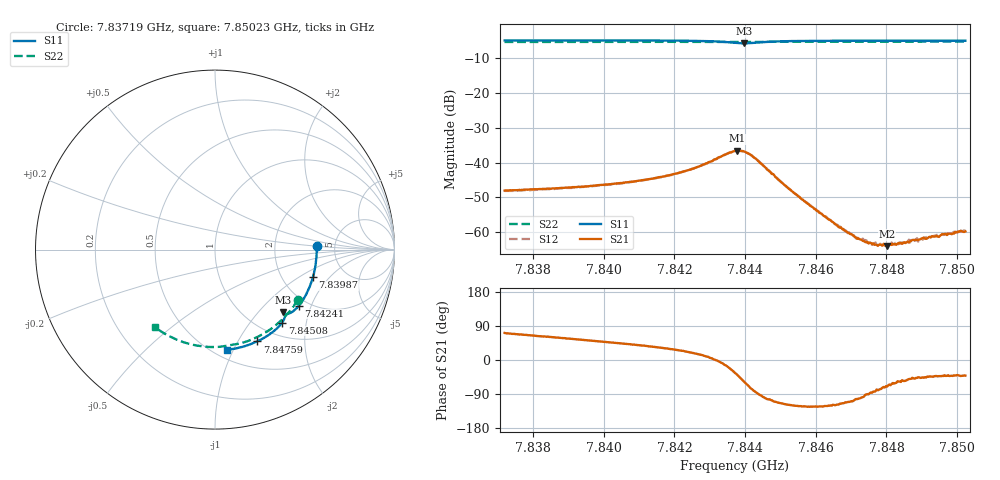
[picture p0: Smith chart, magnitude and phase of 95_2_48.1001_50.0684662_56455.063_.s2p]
#  HZ  S  RI  R  50.00
! Rohde & Schwarz Vector Network Analyzer
! Rohde-Schwarz,ZNB20-2Port,1311601062101988,3.16
! Created: UTC 12/23/2023, 3:44:11 AM
! freq[Hz]  re:S11  im:S11  re:S21  im:S21  re:S12  im:S12  re:S22  im:S22
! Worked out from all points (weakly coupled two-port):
!   401 points, 7.83719 GHz to 7.85023 GHz, reference 50 ohm
!   highest |S21| = -36.57 dB at 7.84378 GHz (marker M1); lowest = -64.0 dB at 7.84802 GHz (marker M2)
!   lowest |S11| = -5.8 dB at 7.84397 GHz (marker M3), VSWR 3.13, Z = 72.8 - j69 ohm
!   |S11| at or under -10 dB: nowhere
!   |S22| runs from -5.4 to -5.3 dB; largest |S21 - S12| = 0.00039
!   S11 on the Smith chart (normalised r, x): 7.83719 GHz: 3.59, +0.24; 7.83987 GHz: 2.95, -1.34; 7.84241 GHz: 1.80, -1.64; 7.84508 GHz: 1.25, -1.46; 7.84759 GHz: 0.81, -1.21; 7.85023 GHz: 0.58, -0.94
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7.837194e9  0.5658 0.0225  0.00126 0.00376  0.00134 0.00369  0.4601 -0.2818
7.839378e9  0.5537 -0.1222  0.0027 0.00365  0.00267 0.00359  0.3635 -0.3999
7.839867e9  0.5456 -0.1541  0.00311 0.00359  0.00304 0.00359  0.3375 -0.4223
7.841562e9  0.5016 -0.2613  0.0052 0.00337  0.00509 0.00335  0.2375 -0.4863
7.84241e9  0.4675 -0.3122  0.00735 0.0028  0.00732 0.00285  0.1827 -0.5096
7.843225e9  0.4191 -0.3532  0.0117 -0.000451  0.0116 -0.000468  0.1274 -0.5254
7.843714e9  0.3846 -0.3549  0.0123 -0.00834  0.0122 -0.00796  0.0947 -0.5309
7.843779e9  0.382 -0.3528  0.0114 -0.00946  0.0115 -0.00937  0.0906 -0.5314
7.843974e9  0.381 -0.3476  0.00772 -0.0122  0.00773 -0.0121  0.0783 -0.5334
7.844268e9  0.3886 -0.3533  0.00152 -0.0116  0.0016 -0.0116  0.0593 -0.5369
7.845083e9  0.3738 -0.407  -0.00214 -0.00446  -0.00215 -0.0045  0.00242 -0.5428
7.845898e9  0.3333 -0.4496  -0.00127 -0.00193  -0.00128 -0.00196  -0.055 -0.5408
7.846941e9  0.2743 -0.4909  -0.000342 -0.00091  -0.000331 -0.000945  -0.1274 -0.5292
7.847169e9  0.2606 -0.4986  -0.000184 -0.000786  -0.000192 -0.000812  -0.1431 -0.5254
7.847593e9  0.235 -0.5114  4.26e-05 -0.000672  4.09e-05 -0.000662  -0.1715 -0.517
7.848016e9  0.2089 -0.5228  0.000216 -0.000594  0.00024 -0.000608  -0.1996 -0.5071
7.848082e9  0.2048 -0.5242  0.000281 -0.000601  0.000242 -0.000592  -0.2038 -0.5057
7.848505e9  0.1781 -0.5341  0.000406 -0.000593  0.000403 -0.000577  -0.2312 -0.4937
7.848799e9  0.1594 -0.54  0.000507 -0.000587  0.000505 -0.000561  -0.2497 -0.485
7.848962e9  0.1489 -0.5429  0.000539 -0.000585  0.000554 -0.00058  -0.2599 -0.4796
7.850037e9  0.0786 -0.557  0.000782 -0.000666  0.000783 -0.000654  -0.3239 -0.4396
7.850233e9  0.0659 -0.5587  0.000774 -0.00068  0.00078 -0.000712  -0.335 -0.4315
